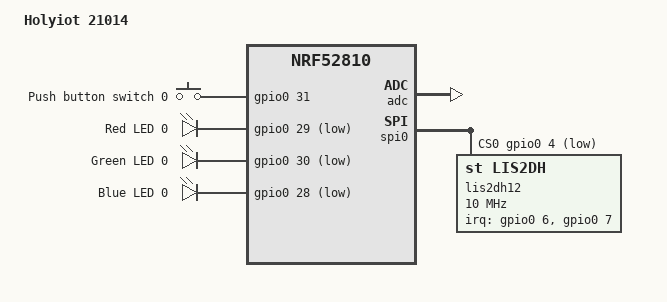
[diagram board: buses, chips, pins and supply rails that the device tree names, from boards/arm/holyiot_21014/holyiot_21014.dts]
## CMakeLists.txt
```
# SPDX-License-Identifier: Apache-2.0

cmake_minimum_required(VERSION 3.20.0)
find_package(Zephyr REQUIRED HINTS $ENV{ZEPHYR_BASE})
project(periodic_adv)

target_sources(app PRIVATE src/main.c src/digital_sign.c)
```

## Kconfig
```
source "Kconfig.zephyr"

config WLEN_USE_BUTTON
    bool "Initialize tag button and send the button event count"
    select GPIO
    default n

config WLEN_USE_LED
    bool "Initialize tag LEDs and use them for visual feedback"
    select GPIO
    default n

config WLEN_USE_ACCEL
    bool "Initialize tag accelerometer and send the accelerometer data"
    select LIS2DH
    default n

config WLEN_PRIVATE_KEY
    string "Private key for the tag"
    default ""
```

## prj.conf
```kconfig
CONFIG_MAIN_STACK_SIZE=4096

CONFIG_BT=y
CONFIG_BT_EXT_ADV=y
CONFIG_BT_CTLR_ADV_DATA_LEN_MAX=120
CONFIG_BT_DEBUG_LOG=n

CONFIG_TINYCRYPT=y
CONFIG_TINYCRYPT_AES=y
CONFIG_TINYCRYPT_ECC_DSA=y
CONFIG_TINYCRYPT_SHA256=y
CONFIG_TINYCRYPT_CTR_PRNG=y
CONFIG_ENTROPY_GENERATOR=y
CONFIG_XOSHIRO_RANDOM_GENERATOR=y

CONFIG_PM_DEVICE=y

CONFIG_WLEN_USE_BUTTON=y
CONFIG_WLEN_USE_LED=y
CONFIG_WLEN_USE_ACCEL=y
CONFIG_WLEN_PRIVATE_KEY="6a42216bb2e1f0cf405b777a03954bdca65d9b8cfd2e7b24d80b570b9bbd6bb2"
```

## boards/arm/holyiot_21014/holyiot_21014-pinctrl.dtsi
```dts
&pinctrl {
    spi0_default: spi0_default {
        group1 {
            psels = <NRF_PSEL(SPIM_SCK, 0, 5)>,
                <NRF_PSEL(SPIM_MOSI, 0, 2)>,
                <NRF_PSEL(SPIM_MISO, 0, 3)>;
        };
    };

    spi0_sleep: spi0_sleep {
        group1 {
            psels = <NRF_PSEL(SPIM_SCK, 0, 5)>,
                <NRF_PSEL(SPIM_MOSI, 0, 2)>,
                <NRF_PSEL(SPIM_MISO, 0, 3)>;
            low-power-enable;
        };
    };
};
```

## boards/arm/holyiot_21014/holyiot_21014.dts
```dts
/*
 * Copyright (c) 2018 Nordic Semiconductor ASA
 * Copyright (c) 2017 Shawn Nock <shawn@monadnock.ca>
 * Copyright (c) 2017 Linaro Limited
 *
 * SPDX-License-Identifier: Apache-2.0
 */

/dts-v1/;
#include <nordic/nrf52810_qfaa.dtsi>
#include "holyiot_21014-pinctrl.dtsi"

/ {
	model = "Holyiot 21014";
	compatible = "nordic,holyiot-21014";

	chosen {
		zephyr,sram = &sram0;
		zephyr,flash = &flash0;
		zephyr,code-partition = &slot0_partition;
	};

	buttons {
		compatible = "gpio-keys";
		button0: button_0 {
			gpios = <&gpio0 31 GPIO_ACTIVE_HIGH>;
			label = "Push button switch 0";
		};
	};


	leds {
		compatible = "gpio-leds";
		led0_red: led_0 {
			gpios = <&gpio0 29 GPIO_ACTIVE_LOW>;
			label = "Red LED 0";
		};
		led0_green: led_1 {
			gpios = <&gpio0 30 GPIO_ACTIVE_LOW>;
			label = "Green LED 0";
		};
		led0_blue: led_2 {
			gpios = <&gpio0 28 GPIO_ACTIVE_LOW>;
			label = "Blue LED 0";
		};
	};

	/* These aliases are provided for compatibility with samples */
	aliases {
		led0 = &led0_red;
		led1 = &led0_green;
		led2 = &led0_blue;
		led0-red   = &led0_red;
		led0-green = &led0_green;
		led0-blue  = &led0_blue;
		sw0 = &button0;
	};
};

&adc {
	status = "okay";
};

&gpiote {
	status = "okay";
};

&gpio0 {
	status = "okay";
};

&spi0 {
	compatible = "nordic,nrf-spi";
	status = "okay";
	cs-gpios = <&gpio0 4 GPIO_ACTIVE_LOW>;
	pinctrl-0 = <&spi0_default>;
	pinctrl-1 = <&spi0_sleep>;
	pinctrl-names = "default", "sleep";

	lis2dh12: lis2dh12@0 {
		compatible = "st,lis2dh", "st,lis2dh12";
		reg = <0>;
		spi-max-frequency = <10000000>;
		irq-gpios =  <&gpio0 6 GPIO_ACTIVE_HIGH>, <&gpio0 7 GPIO_ACTIVE_HIGH>;
	};
};

&flash0 {

	partitions {
		compatible = "fixed-partitions";
		#address-cells = <1>;
		#size-cells = <1>;

		boot_partition: partition@0 {
			label = "mcuboot";
			reg = <0x00000000 0xc000>;
		};
		slot0_partition: partition@c000 {
			label = "image-0";
			reg = <0x0000C000 0xd000>;
		};
		slot1_partition: partition@19000 {
			label = "image-1";
			reg = <0x00019000 0xd000>;
		};
		scratch_partition: partition@26000 {
			label = "image-scratch";
			reg = <0x00026000 0x3000>;
		};
		storage_partition: partition@29000 {
			label = "storage";
			reg = <0x00029000 0x00007000>;
		};
	};
};
```

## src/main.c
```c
/*
 * Copyright (c) 2020 Nordic Semiconductor ASA
 *
 * SPDX-License-Identifier: Apache-2.0
 */

#include <zephyr/kernel.h>
#include <zephyr/device.h>
#include <zephyr/drivers/gpio.h>
#include <zephyr/drivers/sensor.h>
#include <zephyr/sys/printk.h>
#include <zephyr/bluetooth/bluetooth.h>
#include <zephyr/bluetooth/gatt.h>
#include <string.h>

#include "digital_sign.h"

#define UPDATE_ADV_INTERVAL 30 //Seconds
#define ADV_INTERVAL 5000 //Milliseconds

#define ADV_INTERVAL_HEX ((ADV_INTERVAL * 16UL) / 10UL) //Do not change
#define ADV_INTERVAL_MIN (ADV_INTERVAL_HEX) //Do not change
#define ADV_INTERVAL_MAX (ADV_INTERVAL_HEX + (ADV_INTERVAL_HEX/10)) //Do not change

#define MANUFACTURER_SIZE 2 //Do not change
#define IDENTIFIER_SIZE BT_ADDR_SIZE //Do not change
#define LENGTH_SIZE 1 //Do not change
#define PAYLOAD_SIZE 6 //Changeable

#define HEADER_SIZE (IDENTIFIER_SIZE + LENGTH_SIZE) //Do not change
#define DATA_SIZE (HEADER_SIZE + PAYLOAD_SIZE) //Do not change
#define ADV_SIZE (MANUFACTURER_SIZE + DATA_SIZE + SIGNATURE_SIZE) //Do not change

BUILD_ASSERT(sizeof(CONFIG_WLEN_PRIVATE_KEY) == NUM_ECC_BYTES*2 + 1, "Invalid private key size");

static const struct bt_le_adv_param *param =
	BT_LE_ADV_PARAM(BT_LE_ADV_OPT_EXT_ADV  | BT_LE_ADV_OPT_USE_IDENTITY,
			ADV_INTERVAL_MIN, ADV_INTERVAL_MAX, NULL);

static uint8_t advertising[ADV_SIZE] = {};
static const struct bt_data ad[] = {
	BT_DATA_BYTES(BT_DATA_UUID16_ALL, BT_UUID_16_ENCODE(0x1408)),
	BT_DATA(BT_DATA_MANUFACTURER_DATA, advertising, ADV_SIZE),
};

static uint8_t identifier[IDENTIFIER_SIZE] = {};
static uint8_t priv_key[KEY_SIZE] = {};

static struct EcdsaData_t ecdsa_data = {};
static volatile uint8_t counter = 0;
static uint32_t sequence = 0;

static volatile bool is_moving = false;

#if CONFIG_WLEN_USE_BUTTON
static const struct gpio_dt_spec button = GPIO_DT_SPEC_GET(DT_ALIAS(sw0), gpios);
static struct gpio_callback button_cb_data;
#endif

#if CONFIG_WLEN_USE_LED
static struct gpio_dt_spec led_0 = GPIO_DT_SPEC_GET(DT_ALIAS(led0), gpios);
static struct gpio_dt_spec led_1 = GPIO_DT_SPEC_GET(DT_ALIAS(led1), gpios);
static struct gpio_dt_spec led_2 = GPIO_DT_SPEC_GET(DT_ALIAS(led2), gpios);			
#endif				

static struct bt_le_ext_adv *adv;
static struct bt_le_oob oob;

#if CONFIG_WLEN_USE_ACCEL
static struct sensor_trigger trig;
#endif

#if CONFIG_WLEN_USE_LED
void led_0_handler(struct k_timer *dummy)
{
	gpio_pin_set_dt(&led_0, 0);
}

K_TIMER_DEFINE(led_0_timer, led_0_handler, NULL);

void led_1_handler(struct k_timer *dummy);
K_TIMER_DEFINE(led_1_timer, led_1_handler, NULL);

static volatile bool led_1_state = false;
void led_1_handler(struct k_timer *dummy)
{
	if (led_1_state) {
		gpio_pin_set_dt(&led_1, 0);
		led_1_state = false;
		k_timer_start(&led_1_timer, K_MSEC(ADV_INTERVAL - 100), K_NO_WAIT);
	} else {
		gpio_pin_set_dt(&led_1, 1);
		led_1_state = true;
		k_timer_start(&led_1_timer, K_MSEC(100), K_NO_WAIT);
	}
}

void led_2_handler(struct k_timer *dummy)
{
	gpio_pin_set_dt(&led_2, 0);
}

K_TIMER_DEFINE(led_2_timer, led_2_handler, NULL);
#endif

#if CONFIG_WLEN_USE_BUTTON
static volatile uint64_t last_pressed = 0;
void button_pressed(const struct device *dev, struct gpio_callback *cb,
		    uint32_t pins)
{
	uint64_t now = k_uptime_get();
	if (now - last_pressed < 1000) {
		last_pressed = now;
		return;
	}
	
	last_pressed = now;
	printk("Button pressed at %" PRIu64 "\n", k_uptime_get());
	counter++;

#if CONFIG_WLEN_USE_LED
	gpio_pin_set_dt(&led_0, 1);
	k_timer_start(&led_0_timer, K_MSEC(200), K_NO_WAIT);
#endif
}
#endif

int update_advertising() {
	memcpy(&advertising[MANUFACTURER_SIZE + HEADER_SIZE], (uint8_t *) &sequence, sizeof(sequence));
	sequence++;

	advertising[MANUFACTURER_SIZE + HEADER_SIZE + sizeof(sequence)] = counter;
	advertising[MANUFACTURER_SIZE + HEADER_SIZE + sizeof(sequence) + sizeof(counter)] = is_moving;

	ecdsa_data.message = &advertising[2];
	ecdsa_data.length = DATA_SIZE;
	ecdsa_data.signature = &advertising[MANUFACTURER_SIZE + DATA_SIZE];
	int res = sign_ecdsa(&ecdsa_data);
	if (res)
		return 1;
	
	return 0;
}

void init_advertising() {
	memset(advertising, 0xFF, MANUFACTURER_SIZE);
	memcpy(&advertising[MANUFACTURER_SIZE], identifier, IDENTIFIER_SIZE);
	advertising[MANUFACTURER_SIZE + IDENTIFIER_SIZE] = PAYLOAD_SIZE;

	update_advertising();
}

#if CONFIG_WLEN_USE_ACCEL
static void fetch_and_display(const struct device *sensor)
{
	static int32_t prev_accel[3];
	static bool initialized = false;
	static int8_t acc = 0;
	struct sensor_value accel[3];
	int rc = sensor_sample_fetch(sensor);

	if (rc == 0) {
		rc = sensor_channel_get(sensor,
					SENSOR_CHAN_ACCEL_XYZ,
					accel);
	}
	if (rc < 0) {
		printk("ERROR: Getting accel failed: %d\n", rc);
	} else {
		printk("New acceleration values!\n");
		if (!initialized) {
			for (int i = 0; i < 3; i++) {
				prev_accel[i] = accel[i].val1 * 1000 + (accel[i].val2/1000);
			}
			initialized = true;
			return;
		}

		bool is_moving_now = false;
		for (int i = 0; i < 3; i++) {
			int32_t value = accel[i].val1 * 1000 + (accel[i].val2/1000);
			int32_t diff = value - prev_accel[i];
			prev_accel[i] = value;
			if (diff < -500 || diff > 500) {
				is_moving_now = true;
			}
		}
		if (is_moving_now) {
			acc++;
		} else {
			acc--;
		}
		printk("Acc accel: %d\n", acc);

		if (acc >= 5) {
			is_moving = true;
			printk("Is moving: %d\n", is_moving);
			acc = 0;
		} else if (acc <= -5) {
			is_moving = false;
			printk("Is moving: %d\n", is_moving);
			acc = 0;
		}
	}
}

static void trigger_handler(const struct device *dev,
			    const struct sensor_trigger *trig)
{
	fetch_and_display(dev);
}

static struct sensor_trigger trig;
#endif

void main(void)
{
	int err;

	printk("Starting Beacon\n");

#if CONFIG_WLEN_USE_ACCEL
	const struct device *sensor = DEVICE_DT_GET_ANY(st_lis2dh);

	if (sensor == NULL) {
		printk("No device found\n");
		return;
	}
	if (!device_is_ready(sensor)) {
		printk("Device %s is not ready\n", sensor->name);
		return;
	}

	trig.type = SENSOR_TRIG_DATA_READY;
	trig.chan = SENSOR_CHAN_ACCEL_XYZ;

	if (IS_ENABLED(CONFIG_LIS2DH_ODR_RUNTIME)) {
		struct sensor_value odr = {
			.val1 = 1,
		};

		err = sensor_attr_set(sensor, trig.chan,
						SENSOR_ATTR_SAMPLING_FREQUENCY,
						&odr);
		if (err != 0) {
			printk("Failed to set odr: %d\n", err);
			return;
		}
		printk("Sampling at %u Hz\n", odr.val1);
	}

	err = sensor_trigger_set(sensor, &trig, trigger_handler);
	if (err != 0) {
		printk("Failed to set trigger: %d\n", err);
		return;
	}
#endif

#if CONFIG_WLEN_USE_BUTTON
	if (!device_is_ready(button.port)) {
		printk("Error: button device %s is not ready\n",
		       button.port->name);
		return;
	}

	err = gpio_pin_configure_dt(&button, GPIO_INPUT);
	if (err != 0) {
		printk("Error %d: failed to configure %s pin %d\n",
		       err, button.port->name, button.pin);
		return;
	}

	err = gpio_pin_interrupt_configure_dt(&button,
					      GPIO_INT_EDGE_TO_ACTIVE);
	if (err != 0) {
		printk("Error %d: failed to configure interrupt on %s pin %d\n",
			err, button.port->name, button.pin);
		return;
	}

	gpio_init_callback(&button_cb_data, button_pressed, BIT(button.pin));
	gpio_add_callback(button.port, &button_cb_data);
	printk("Set up button at %s pin %d\n", button.port->name, button.pin);
#endif

#if CONFIG_WLEN_USE_LED
	if (!device_is_ready(led_0.port)) {
		printk("Error: LED device %s is not ready\n",
				led_0.port->name);
		return;
	}
	err = gpio_pin_configure_dt(&led_0, GPIO_OUTPUT_INACTIVE);
	if (err < 0) {
		printk("Error: Couldn't configure LED device %s\n",
				led_0.port->name);
		return;
	}
	printk("Led 0 at %s pin %d\n", led_0.port->name, led_0.pin);

	if (!device_is_ready(led_1.port)) {
		printk("Error: LED device %s is not ready\n",
				led_1.port->name);
		return;
	}
	err = gpio_pin_configure_dt(&led_1, GPIO_OUTPUT_INACTIVE);
	if (err < 0) {
		printk("Error: Couldn't configure LED device %s\n",
				led_1.port->name);
		return;
	}
	printk("Led 1 at %s pin %d\n", led_1.port->name, led_1.pin);
	
	if (!device_is_ready(led_2.port)) {
		printk("Error: LED device %s is not ready\n",
				led_2.port->name);
		return;
	}
	err = gpio_pin_configure_dt(&led_2, GPIO_OUTPUT_INACTIVE);
	if (err < 0) {
		printk("Error: Couldn't configure LED device %s\n",
				led_2.port->name);
		return;
	}
	printk("Led 2 at %s pin %d\n", led_2.port->name, led_2.pin);
#endif

	size_t key_bytes = hex2bin(CONFIG_WLEN_PRIVATE_KEY, strlen(CONFIG_WLEN_PRIVATE_KEY), priv_key, sizeof(priv_key));
	if (key_bytes != NUM_ECC_BYTES) {
		printk("Invalid private key\n");
		return;
	}

	err = init_ecdsa();
	if (err) {
		printk("Error initializing ECDSA\n");
		return;
	}
	set_key_ecdsa(priv_key);

	/* Initialize the Bluetooth Subsystem */
	err = bt_enable(NULL);
	if (err) {
		printk("Bluetooth init failed (err %d)\n", err);
		return;
	}

	// Set beacon identifier
	bt_le_oob_get_local(BT_ID_DEFAULT, &oob);
	for (int i = 0; i < BT_ADDR_SIZE; i++) {
		identifier[i] = oob.addr.a.val[(BT_ADDR_SIZE - 1) - i];
	}

	/* Create a non-connectable non-scannable advertising set */
	err = bt_le_ext_adv_create(param, NULL, &adv);
	if (err) {
		printk("Failed to create advertising set (err %d)\n", err);
		return;
	}

	init_advertising();

	err = bt_le_ext_adv_set_data(adv, ad, ARRAY_SIZE(ad), NULL, 0);
	if (err) {
		printk("Failed to set advertising data (err %d)\n", err);
		return;
	}

	/* Enable Advertising */
	printk("Start Extended Advertising...");
	err = bt_le_ext_adv_start(adv, BT_LE_EXT_ADV_START_DEFAULT);
	if (err) {
		printk("Failed to start extended advertising "
				"(err %d)\n", err);
		return;
	}

	printk("done.\n");

#if CONFIG_WLEN_USE_LED
	k_timer_start(&led_1_timer, K_NO_WAIT, K_NO_WAIT);
#endif

	while (true) {
		k_sleep(K_SECONDS(UPDATE_ADV_INTERVAL));

		update_advertising();

#if CONFIG_WLEN_USE_LED
		gpio_pin_set_dt(&led_2, 1);
		k_timer_start(&led_2_timer, K_MSEC(100), K_NO_WAIT);
#endif

		printk("Set Advertising Data...");
		err = bt_le_ext_adv_set_data(adv, ad, ARRAY_SIZE(ad), NULL, 0);
		if (err) {
			printk("Failed (err %d)\n", err);
			return;
		}
		printk("done.\n");
	}
}
```

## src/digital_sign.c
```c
#include <tinycrypt/ecc_dsa.h>
#include <tinycrypt/sha256.h>
#include <tinycrypt/constants.h>
#include <tinycrypt/ctr_prng.h>
#include <zephyr/random/rand32.h>
#include <string.h>

#include "digital_sign.h"

static uint8_t key_bytes[NUM_ECC_BYTES];
static uint8_t digest_bytes[TC_SHA256_DIGEST_SIZE];

static struct tc_sha256_state_struct ctx;

static TCCtrPrng_t prng_state;
static bool prng_init = false;
static int setup_prng(void)
{
	if (prng_init)
		return 0;

	uint8_t entropy[TC_AES_KEY_SIZE + TC_AES_BLOCK_SIZE];

	for (int i = 0; i < sizeof(entropy); i += sizeof(uint32_t)) {
		uint32_t rv = sys_rand32_get();

		memcpy(entropy + i, &rv, sizeof(uint32_t));
	}

	int res = tc_ctr_prng_init(&prng_state,
				   (const uint8_t *) &entropy, sizeof(entropy),
				   NULL,
				   0);

    if (res != TC_CRYPTO_SUCCESS)
        return 1;
    
    prng_init = true;
    return 0;
}

int default_CSPRNG(uint8_t *dest, unsigned int size)
{
	int res = tc_ctr_prng_generate(&prng_state, NULL, 0, dest, size);
	return res;
}

void set_key_ecdsa(const uint8_t *key) {
	memcpy(key_bytes, key, NUM_ECC_BYTES);
}

int init_ecdsa() {
	int res = setup_prng();
	if (res)
		return 1;
	
	uECC_set_rng(&default_CSPRNG);
	return 0;
}

int sign_ecdsa(struct EcdsaData_t *data) {
	int res = tc_sha256_init(&ctx);
	if (res != TC_CRYPTO_SUCCESS)
		return 1;

	tc_sha256_update(&ctx, data->message, data->length);
	tc_sha256_final(digest_bytes, &ctx);

	res = uECC_sign(key_bytes, digest_bytes, sizeof(digest_bytes), data->signature, uECC_secp256r1());
	if (res != TC_CRYPTO_SUCCESS)
		return 2;

	return 0;
}
```

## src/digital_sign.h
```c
#ifndef _DIGITAL_SIGN_H_
#define _DIGITAL_SIGN_H_

#include <zephyr/types.h>
#include <tinycrypt/ecc_dsa.h>

#define KEY_SIZE NUM_ECC_BYTES
#define SIGNATURE_SIZE (2*NUM_ECC_BYTES)

struct EcdsaData_t {
    uint8_t *signature;
    const uint8_t *message;
    size_t length;
};

void set_key_ecdsa(const uint8_t *);
int init_ecdsa();
int sign_ecdsa(struct EcdsaData_t *);

#endif
```
